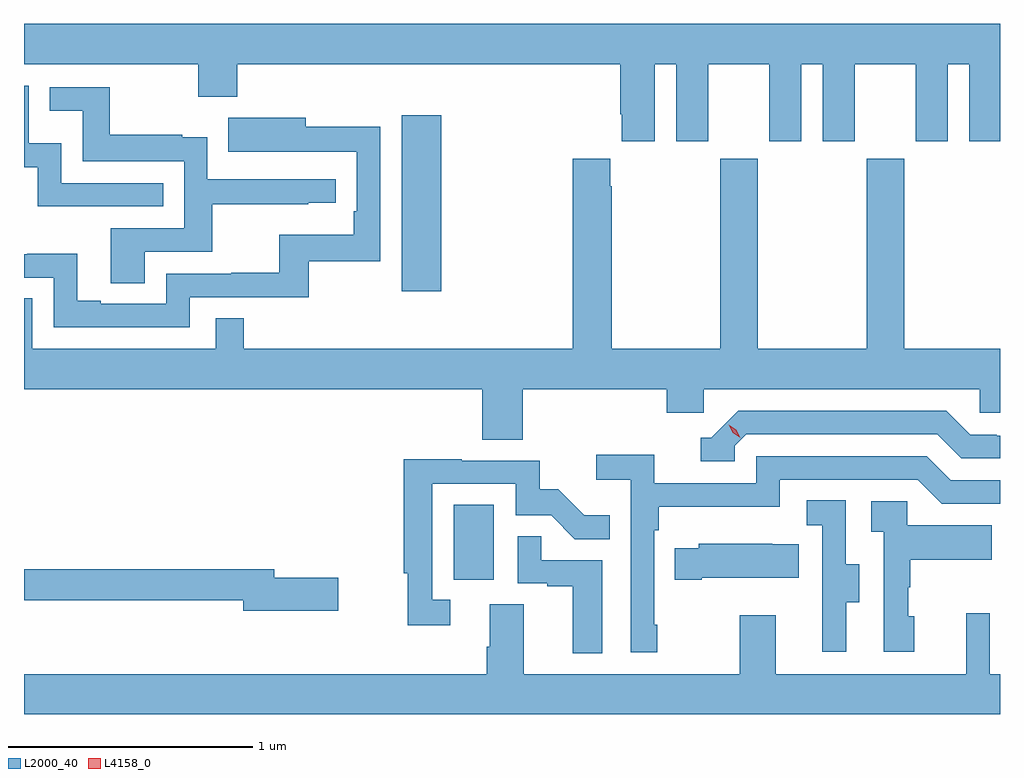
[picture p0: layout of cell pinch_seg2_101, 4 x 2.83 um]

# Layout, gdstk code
import gdstk
lib = gdstk.Library(unit=1e-6, precision=1e-09)
def R(c, l, rs):  # rectangles x0, y0, x1, y1
    for r in rs: c.add(gdstk.rectangle(r[:2], r[2:], *l))
def P(c, l, *ps):  # polygons
    for p in ps: c.add(gdstk.Polygon(p, *l))
L2000_40 = (2000, 40)
L4158_0 = (4158, 0)

pinch_seg2_101 = lib.new_cell('pinch_seg2_101')
R(pinch_seg2_101, L2000_40, [(1071.302,630.87,1071.466,631.177), (1071.089,632.052,1071.25,632.773)])
P(pinch_seg2_101, L2000_40, [(1072.126,632.984),(1072.214,632.984),(1072.214,632.667),(1072.345,632.667),(1072.345,632.984),(1072.595,632.984),(1072.595,632.667),(1072.726,632.667),(1072.726,632.984),(1072.814,632.984),(1072.814,632.667),(1072.945,632.667),(1072.945,632.984),(1073.195,632.984),(1073.195,632.667),(1073.326,632.667),(1073.326,632.984),(1073.414,632.984),(1073.414,632.667),(1073.54,632.667),(1073.54,633.148),(1069.54,633.148),(1069.54,632.984),(1070.254,632.984),(1070.254,632.849),(1070.414,632.849),(1070.414,632.984),(1071.983,632.984),(1071.983,632.779),(1071.989,632.779),(1071.989,632.667),(1072.126,632.667)],
  [(1070.111,632.496),(1069.692,632.496),(1069.692,632.659),(1069.56,632.659),(1069.56,632.895),(1069.54,632.895),(1069.54,632.561),(1069.596,632.561),(1069.596,632.4),(1070.111,632.4)],
  [(1070.035,632.214),(1070.312,632.214),(1070.312,632.41),(1070.705,632.41),(1070.705,632.415),(1070.818,632.415),(1070.818,632.511),(1070.292,632.511),(1070.292,632.683),(1070.189,632.683),(1070.189,632.695),(1069.891,632.695),(1069.891,632.889),(1069.645,632.889),(1069.645,632.792),(1069.78,632.792),(1069.78,632.586),(1070.196,632.586),(1070.196,632.31),(1069.895,632.31),(1069.895,632.086),(1070.035,632.086)],
  [(1070.22,632.028),(1070.707,632.028),(1070.707,632.175),(1071,632.175),(1071,632.726),(1070.695,632.726),(1070.695,632.764),(1070.377,632.764),(1070.377,632.624),(1070.591,632.624),(1070.591,632.625),(1070.904,632.625),(1070.904,632.38),(1070.891,632.38),(1070.891,632.284),(1070.586,632.284),(1070.586,632.129),(1070.389,632.129),(1070.389,632.124),(1070.124,632.124),(1070.124,632.001),(1069.855,632.001),(1069.855,632.014),(1069.759,632.014),(1069.759,632.207),(1069.554,632.207),(1069.554,632.205),(1069.54,632.205),(1069.54,632.109),(1069.662,632.109),(1069.662,631.905),(1070.22,631.905)],
  [(1069.54,632.024),(1069.54,631.652),(1071.419,631.652),(1071.419,631.444),(1071.584,631.444),(1071.584,631.652),(1072.175,631.652),(1072.175,631.554),(1072.326,631.554),(1072.326,631.652),(1073.457,631.652),(1073.457,631.554),(1073.54,631.554),(1073.54,631.816),(1073.148,631.816),(1073.148,632.596),(1072.993,632.596),(1072.993,631.816),(1072.548,631.816),(1072.548,632.596),(1072.393,632.596),(1072.393,631.816),(1071.948,631.816),(1071.948,632.483),(1071.943,632.483),(1071.943,632.596),(1071.788,632.596),(1071.788,631.816),(1070.441,631.816),(1070.441,631.943),(1070.325,631.943),(1070.325,631.816),(1069.573,631.816),(1069.573,632.024)],
  [(1072.452,631.419),(1072.5,631.467),(1073.283,631.467),(1073.382,631.368),(1073.54,631.368),(1073.54,631.461),(1073.526,631.461),(1073.526,631.464),(1073.419,631.464),(1073.32,631.563),(1072.467,631.563),(1072.356,631.452),(1072.313,631.452),(1072.313,631.356),(1072.452,631.356)],
  [(1072.135,630.685),(1072.122,630.685),(1072.122,631.073),(1072.142,631.073),(1072.142,631.169),(1072.638,631.169),(1072.638,631.281),(1073.202,631.281),(1073.301,631.182),(1073.54,631.182),(1073.54,631.278),(1073.338,631.278),(1073.239,631.377),(1072.542,631.377),(1072.542,631.266),(1072.124,631.266),(1072.124,631.382),(1071.885,631.382),(1071.885,631.28),(1072.026,631.28),(1072.026,630.573),(1072.135,630.573)],
  [(1071.286,630.789),(1071.213,630.789),(1071.213,631.263),(1071.555,631.263),(1071.555,631.134),(1071.7,631.134),(1071.798,631.036),(1071.941,631.036),(1071.941,631.135),(1071.837,631.135),(1071.73,631.242),(1071.654,631.242),(1071.654,631.359),(1071.335,631.359),(1071.335,631.364),(1071.097,631.364),(1071.097,630.896),(1071.112,630.896),(1071.112,630.684),(1071.286,630.684)],
  [(1072.909,630.778),(1072.963,630.778),(1072.963,630.933),(1072.908,630.933),(1072.908,631.196),(1072.749,631.196),(1072.749,631.093),(1072.812,631.093),(1072.812,630.789),(1072.811,630.789),(1072.811,630.576),(1072.909,630.576)],
  [(1073.188,630.72),(1073.163,630.72),(1073.163,630.839),(1073.173,630.839),(1073.173,630.953),(1073.507,630.953),(1073.507,631.093),(1073.16,631.093),(1073.16,631.191),(1073.013,631.191),(1073.013,631.067),(1073.064,631.067),(1073.064,630.576),(1073.188,630.576)],
  [(1071.91,630.951),(1071.659,630.951),(1071.659,631.049),(1071.564,631.049),(1071.564,630.855),(1071.685,630.855),(1071.685,630.843),(1071.788,630.843),(1071.788,630.569),(1071.91,630.569)],
  [(1072.318,630.878),(1072.715,630.878),(1072.715,631.015),(1072.607,631.015),(1072.607,631.018),(1072.305,631.018),(1072.305,631),(1072.207,631),(1072.207,630.871),(1072.318,630.871)],
  [(1070.827,630.878),(1070.566,630.878),(1070.566,630.914),(1069.54,630.914),(1069.54,630.786),(1070.438,630.786),(1070.438,630.743),(1070.827,630.743)],
  [(1073.54,630.484),(1073.499,630.484),(1073.499,630.733),(1073.402,630.733),(1073.402,630.484),(1072.621,630.484),(1072.621,630.724),(1072.474,630.724),(1072.474,630.484),(1071.589,630.484),(1071.589,630.77),(1071.449,630.77),(1071.449,630.596),(1071.437,630.596),(1071.437,630.484),(1069.54,630.484),(1069.54,630.32),(1073.54,630.32)])
P(pinch_seg2_101, L4158_0, [(1072.476,631.453),(1072.445,631.472),(1072.429,631.505),(1072.429,631.505),(1072.429,631.505),(1072.46,631.486),(1072.476,631.453),(1072.476,631.453)])

lib.write_gds('pinch_seg2_101.gds')
